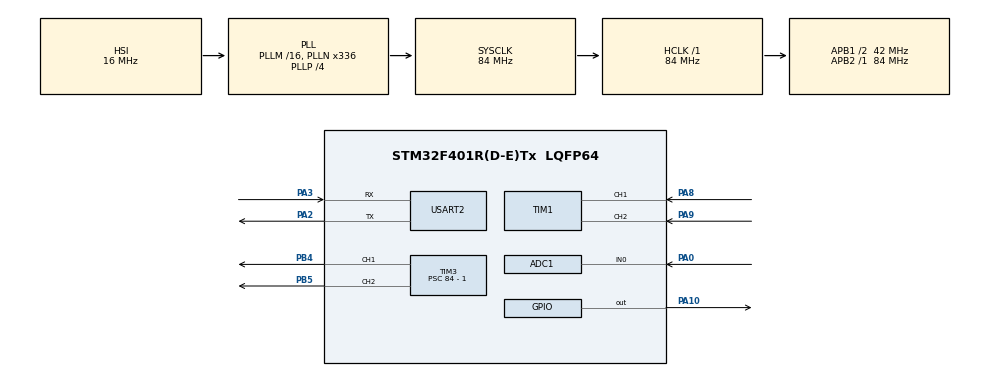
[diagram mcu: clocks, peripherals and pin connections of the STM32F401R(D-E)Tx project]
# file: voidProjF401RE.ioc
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ADC1.Channel-2\#ChannelRegularConversion=ADC_CHANNEL_0
ADC1.ExternalTrigConv=ADC_EXTERNALTRIGCONV_T2_TRGO
ADC1.InjNumberOfConversion=0
ADC1.NbrOfConversionFlag=1
ADC1.Rank-2\#ChannelRegularConversion=1
ADC1.SamplingTime-2\#ChannelRegularConversion=ADC_SAMPLETIME_3CYCLES
ADC1.master=1
Mcu.Family=STM32F4
Mcu.Name=STM32F401R(D-E)Tx
Mcu.Package=LQFP64
NVIC.ADC_IRQn=true\:0\:0\:false\:false\:true\:true\:true\:true
NVIC.PriorityGroup=NVIC_PRIORITYGROUP_4
NVIC.TIM4_IRQn=true\:0\:0\:false\:false\:true\:true\:true\:true
PA0-WKUP.Signal=SharedAnalog_PA0
PA10.Signal=GPIO_Output
PA2.Mode=Asynchronous
PA2.Signal=USART2_TX
PA3.Mode=Asynchronous
PA3.Signal=USART2_RX
PA8.Signal=S_TIM1_CH1
PA9.Signal=S_TIM1_CH2
PB4.Signal=S_TIM3_CH1
PB5.Signal=S_TIM3_CH2
ProjectManager.HeapSize=0x200
ProjectManager.StackSize=0x400
ProjectManager.TargetToolchain=STM32CubeIDE
RCC.48MHZClocksFreq_Value=84000000
RCC.AHBFreq_Value=84000000
RCC.APB1CLKDivider=RCC_HCLK_DIV2
RCC.APB1Freq_Value=42000000
RCC.APB1TimFreq_Value=84000000
RCC.APB2Freq_Value=84000000
RCC.APB2TimFreq_Value=84000000
RCC.CortexFreq_Value=84000000
RCC.HCLKFreq_Value=84000000
RCC.HSE_VALUE=25000000
RCC.HSI_VALUE=16000000
RCC.LSE_VALUE=32768
RCC.PLLN=336
RCC.PLLP=RCC_PLLP_DIV4
RCC.SYSCLKFreq_VALUE=84000000
RCC.SYSCLKSource=RCC_SYSCLKSOURCE_PLLCLK
RCC.VCOOutputFreq_Value=336000000
SH.S_TIM1_CH1.0=TIM1_CH1,Encoder_Interface
SH.S_TIM1_CH2.0=TIM1_CH2,Encoder_Interface
SH.S_TIM3_CH1.0=TIM3_CH1,PWM Generation1 CH1
SH.S_TIM3_CH2.0=TIM3_CH2,PWM Generation2 CH2
SH.SharedAnalog_PA0.0=GPIO_Analog
SH.SharedAnalog_PA0.1=ADC1_IN0,IN0
TIM1.EncoderMode=TIM_ENCODERMODE_TI12
TIM2.Channel-PWM\ Generation1\ No\ Output=TIM_CHANNEL_1
TIM2.Period=1000 - 1
TIM2.Prescaler=84 - 1
TIM2.TIM_MasterOutputTrigger=TIM_TRGO_UPDATE
TIM3.AutoReloadPreload=TIM_AUTORELOAD_PRELOAD_ENABLE
TIM3.Channel-PWM\ Generation1\ CH1=TIM_CHANNEL_1
TIM3.Channel-PWM\ Generation2\ CH2=TIM_CHANNEL_2
TIM3.Period=500 - 1
TIM3.Prescaler=84 - 1
TIM4.Period=5000 - 1
TIM4.Prescaler=84 - 1
USART2.VirtualMode=VM_ASYNC
VP_TIM2_VS_ClockSourceINT.Mode=Internal
VP_TIM2_VS_no_output1.Mode=PWM Generation1 No Output
VP_TIM3_VS_ClockSourceINT.Mode=Internal
VP_TIM4_VS_ClockSourceINT.Mode=Internal
board=custom

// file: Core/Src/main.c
/* USER CODE BEGIN Header */
/**
 ******************************************************************************
 * @file           : main.c
 * @brief          : Main program body
 ******************************************************************************
 * @attention
 *
 * <h2><center>&copy; Copyright (c) 2021 STMicroelectronics.
 * All rights reserved.</center></h2>
 *
 * This software component is licensed by ST under BSD 3-Clause license,
 * the "License"; You may not use this file except in compliance with the
 * License. You may obtain a copy of the License at:
 *                        opensource.org/licenses/BSD-3-Clause
 *
 ******************************************************************************
 */
/* USER CODE END Header */
#include "main.h"

/* USER CODE BEGIN Includes */
#include "stdio.h"
#include "stdlib.h"
#include "stdbool.h"
#include "math.h"
#include "string.h"
#include  <errno.h>
#include  <sys/unistd.h> // STDOUT_FILENO, STDERR_FILENO
/* USER CODE END Includes */

/* USER CODE BEGIN PD */
#define WAITING 2 // the number of seconds to wait from one reference change to the next. It also coincides with the number of seconds between one USART send and the next
/* USER CODE END PD */

ADC_HandleTypeDef hadc1;

TIM_HandleTypeDef htim1;
TIM_HandleTypeDef htim2;
TIM_HandleTypeDef htim3;
TIM_HandleTypeDef htim4;

UART_HandleTypeDef huart2;

void SystemClock_Config(void);
static void MX_GPIO_Init(void);
static void MX_USART2_UART_Init(void);
static void MX_TIM3_Init(void);
static void MX_TIM1_Init(void);
static void MX_TIM4_Init(void);
static void MX_ADC1_Init(void);
static void MX_TIM2_Init(void);

/* USER CODE BEGIN 0 */
/* BEGIN CIRCULAR DATA BUFFER */
typedef struct circular_buffer {
	void *buffer;     // data buffer
	void *buffer_end; // end of data buffer
	size_t capacity;  // maximum number of items in the buffer
	size_t count;     // number of items in the buffer
	size_t sz;        // size of each item in the buffer
	void *head;       // pointer to head
	void *tail;       // pointer to tail
	bool writing;  // signals if the buffer is being written
} circular_buffer;

void cb_init(circular_buffer *cb, size_t capacity, size_t sz) {
	cb->buffer = calloc(capacity, sz);
	if (cb->buffer == NULL)
		printf("ALLOCATED NULL\n\r");
	// handle error
	cb->buffer_end = (char*) cb->buffer + capacity * sz;
	cb->capacity = capacity;
	cb->count = 0;
	cb->sz = sz;
	cb->head = cb->buffer;
	cb->tail = cb->buffer;
	cb->writing = false;

}

void cb_free(circular_buffer *cb) {
	free(cb->buffer);
	// clear out other fields too, just to be safe
}

void cb_push_back(circular_buffer *cb, const void *item) {
	if (cb->count == cb->capacity) {
		printf("ERROR PUSH BACK \n\r");
		// handle error
	}
	cb->writing = true;
	memmove(cb->head, item, cb->sz);
	cb->head = (char*) cb->head + cb->sz;
	if (cb->head == cb->buffer_end)
		cb->head = cb->buffer;
	cb->count++;
	cb->writing = false;
}

void cb_pop_front(circular_buffer *cb, void *item) {
	if (cb->count == 0) {
		printf("ERROR PUSH BACK \n\r");
		// handle error
	}
	memmove(item, cb->tail, cb->sz);
	cb->tail = (char*) cb->tail + cb->sz;
	if (cb->tail == cb->buffer_end)
		cb->tail = cb->buffer;
	while ((cb->writing))
		;
	cb->count--;
}

circular_buffer myBuff;

/* BEGIN RECORD TYPEDEF*/
typedef struct record {
	double current_u; // value of the current controller output
	double current_reference; // value of the current reference
	double current_torque; // value of the current motor torque
	uint32_t cycleCoreDuration; // time needed to read, compute and actuate
	uint32_t cycleBeginDelay; // difference between the actual and the expected absolute start time of the cycle
	uint32_t currentTimestamp; // current timestamp in millis
} record;

/* BEGIN USART WRITE FUNCTION (used by printf)*/
int _write(int file, char *data, int len) {
	if ((file != STDOUT_FILENO) && (file != STDERR_FILENO)) {
		errno = EBADF;
		return -1;
	}

	// arbitrary timeout 1000
	HAL_StatusTypeDef status = HAL_UART_Transmit(&huart2, (uint8_t*) data, len,
			1000);

	// return # of bytes written - as best we can tell
	return (status == HAL_OK ? len : 0);
}

void setPulseFromDutyValue(double dutyVal) {
	HAL_GPIO_WritePin(GPIOA, GPIO_PIN_10, GPIO_PIN_SET); // enable the motor driver

	uint16_t channelToModulate;
	uint16_t channelToStop;

	if (dutyVal > 0) {
		channelToModulate = TIM_CHANNEL_1;
		channelToStop = TIM_CHANNEL_2;
	} else {
		channelToModulate = TIM_CHANNEL_2;
		channelToStop = TIM_CHANNEL_1;
	}

	__HAL_TIM_SET_COMPARE(&htim3, channelToStop, 0);
	__HAL_TIM_SET_COMPARE(&htim3, channelToModulate,
			(abs(dutyVal) * ((double )htim3.Init.Period)) / 100); //cast integer value to double to correctly perform division between decimal numbers
}

double getSpeedByDelta(double ticksDelta, double Ts) {
	return ticksDelta * (2*M_PI) / (8400 * Ts);
}

double getTicksDelta(double currentTicks, double lastTicks, double Ts) {
	double delta;

	if (abs(currentTicks - lastTicks) <= ceil(12600 * Ts))
		delta = currentTicks - lastTicks;
	else {
		if (lastTicks > currentTicks)
			delta = currentTicks + pow(2, 16) - 1 - lastTicks;
		else
			delta = currentTicks - pow(2, 16) + 1 - lastTicks;
	}
	return delta;
}

double getPosition(double ticksDelta, double *ticksStar) {
	(*ticksStar) = (*ticksStar) + ticksDelta;
	double completeTheta = 2*M_PI*(*ticksStar)/(8400);
	// int sign = 0;
	// if(completeTheta>0)
	// 	sign = 1;
	// else if(completeTheta<0)
	// 	sign = -1;
	// double position = sign*fmod(fabs(completeTheta),2*M_PI);
	double position = completeTheta;
	return position;
}

int cycleduration;
double lastTicks = 0;
double currentTicks = 0;
uint32_t ticControlStep;
uint32_t tocControlStep;
uint32_t controlComputationDuration;
double u_last = 0;
double speed_last = 0;
double e_last = 0;
double ticks_last = 0;
double Kp = 0.046;
double Ti = 0.001352941176471;
double Ts = 0.005;
double K = 1.339;
double V0 = 2.467;
double delta_V = 0.185;
double alpha = 0.95123;
double referenceVals[4] = { 0,0.214,0,-0.214 };//M_PI/2, M_PI, 3*M_PI/2, 2*M_PI };
double referenceVal;
double current = 0.0;
uint32_t k_controller = -1;
int samplingPrescaler = 2;
int samplingPrescalerCounter = 0;
/* USER CODE END 0 */

int main(void)
{

  /* MCU Configuration--------------------------------------------------------*/

  /* Reset of all peripherals, Initializes the Flash interface and the Systick. */
  HAL_Init();

  /* USER CODE BEGIN Init */
	size_t bufferSize = (size_t)ceil(2 * WAITING / (Ts * samplingPrescaler));
	cb_init(&myBuff, bufferSize, sizeof(record));

  /* USER CODE END Init */

  /* Configure the system clock */
  SystemClock_Config();

  /* Initialize all configured peripherals */
  MX_GPIO_Init();
  MX_USART2_UART_Init();
  MX_TIM3_Init();
  MX_TIM1_Init();
  MX_TIM4_Init();
  MX_ADC1_Init();
  MX_TIM2_Init();
  /* USER CODE BEGIN 2 */
//    if(HAL_ADCEx_Calibration_Start(&hadc1, ADC_CALIB_OFFSET, ADC_SINGLE_ENDED) != HAL_OK)
//    	Error_Handler();
    if(HAL_ADC_Start_IT(&hadc1) != HAL_OK)
		Error_Handler();
    if(HAL_TIM_PWM_Start(&htim2, TIM_CHANNEL_1) != HAL_OK)
		Error_Handler();
    HAL_TIM_PWM_Start(&htim3, TIM_CHANNEL_1);
    HAL_TIM_PWM_Start(&htim3, TIM_CHANNEL_2);
    HAL_TIM_Base_Start(&htim1);
    HAL_TIM_Base_Start_IT(&htim4);
  /* USER CODE END 2 */

  /* Infinite loop */
  /* USER CODE BEGIN WHILE */
	int referenceIndex = 0;

	// Convert torque reference to current reference
	for(int i = 0; i<4; i++){
		referenceVals[i] /= K;
	}

	referenceVal = referenceVals[referenceIndex];
	printf("INIT\n\r"); // initialize the Matlab tool for COM data acquiring

	while (1) {
		size_t nEntriesToSend = myBuff.count; //number of samples not read yet
		record retrieved; //buffer entry

		for (size_t count = 0; count < nEntriesToSend; count++) {
			cb_pop_front(&myBuff, &retrieved); //take entry from the buffer
			printf("%lu, %f, %f, %f, %lu\n\r", retrieved.currentTimestamp,
					retrieved.current_u, retrieved.current_torque, retrieved.current_reference,
					retrieved.cycleCoreDuration); // send values via USART using format: value1, value2, value3, ... valuen \n \r
		}
		referenceVal = referenceVals[referenceIndex];
		referenceIndex = referenceIndex + 1;
		HAL_Delay(WAITING*1000); // takes a time value in ms
		if (referenceIndex > 3)
			referenceIndex = 0;

    /* USER CODE END WHILE */

	}
}

void SystemClock_Config(void)
{
  RCC_OscInitTypeDef RCC_OscInitStruct = {0};
  RCC_ClkInitTypeDef RCC_ClkInitStruct = {0};

  /** Configure the main internal regulator output voltage
  */
  __HAL_RCC_PWR_CLK_ENABLE();
  __HAL_PWR_VOLTAGESCALING_CONFIG(PWR_REGULATOR_VOLTAGE_SCALE2);
  /** Initializes the RCC Oscillators according to the specified parameters
  * in the RCC_OscInitTypeDef structure.
  */
  RCC_OscInitStruct.OscillatorType = RCC_OSCILLATORTYPE_HSI;
  RCC_OscInitStruct.HSIState = RCC_HSI_ON;
  RCC_OscInitStruct.HSICalibrationValue = RCC_HSICALIBRATION_DEFAULT;
  RCC_OscInitStruct.PLL.PLLState = RCC_PLL_ON;
  RCC_OscInitStruct.PLL.PLLSource = RCC_PLLSOURCE_HSI;
  RCC_OscInitStruct.PLL.PLLM = 16;
  RCC_OscInitStruct.PLL.PLLN = 336;
  RCC_OscInitStruct.PLL.PLLP = RCC_PLLP_DIV4;
  RCC_OscInitStruct.PLL.PLLQ = 4;
  if (HAL_RCC_OscConfig(&RCC_OscInitStruct) != HAL_OK)
  {
    Error_Handler();
  }
  /** Initializes the CPU, AHB and APB buses clocks
  */
  RCC_ClkInitStruct.ClockType = RCC_CLOCKTYPE_HCLK|RCC_CLOCKTYPE_SYSCLK
                              |RCC_CLOCKTYPE_PCLK1|RCC_CLOCKTYPE_PCLK2;
  RCC_ClkInitStruct.SYSCLKSource = RCC_SYSCLKSOURCE_PLLCLK;
  RCC_ClkInitStruct.AHBCLKDivider = RCC_SYSCLK_DIV1;
  RCC_ClkInitStruct.APB1CLKDivider = RCC_HCLK_DIV2;
  RCC_ClkInitStruct.APB2CLKDivider = RCC_HCLK_DIV1;

  if (HAL_RCC_ClockConfig(&RCC_ClkInitStruct, FLASH_LATENCY_2) != HAL_OK)
  {
    Error_Handler();
  }
}

static void MX_ADC1_Init(void)
{

  ADC_ChannelConfTypeDef sConfig = {0};

  /** Configure the global features of the ADC (Clock, Resolution, Data Alignment and number of conversion)
  */
  hadc1.Instance = ADC1;
  hadc1.Init.ClockPrescaler = ADC_CLOCK_SYNC_PCLK_DIV4;
  hadc1.Init.Resolution = ADC_RESOLUTION_12B;
  hadc1.Init.ScanConvMode = DISABLE;
  hadc1.Init.ContinuousConvMode = DISABLE;
  hadc1.Init.DiscontinuousConvMode = DISABLE;
  hadc1.Init.ExternalTrigConvEdge = ADC_EXTERNALTRIGCONVEDGE_RISING;
  hadc1.Init.ExternalTrigConv = ADC_EXTERNALTRIGCONV_T2_TRGO;
  hadc1.Init.DataAlign = ADC_DATAALIGN_RIGHT;
  hadc1.Init.NbrOfConversion = 1;
  hadc1.Init.DMAContinuousRequests = DISABLE;
  hadc1.Init.EOCSelection = ADC_EOC_SINGLE_CONV;
  if (HAL_ADC_Init(&hadc1) != HAL_OK)
  {
    Error_Handler();
  }
  /** Configure for the selected ADC regular channel its corresponding rank in the sequencer and its sample time.
  */
  sConfig.Channel = ADC_CHANNEL_0;
  sConfig.Rank = 1;
  sConfig.SamplingTime = ADC_SAMPLETIME_3CYCLES;
  if (HAL_ADC_ConfigChannel(&hadc1, &sConfig) != HAL_OK)
  {
    Error_Handler();
  }

}

static void MX_TIM1_Init(void)
{

  TIM_Encoder_InitTypeDef sConfig = {0};
  TIM_MasterConfigTypeDef sMasterConfig = {0};

  htim1.Instance = TIM1;
  htim1.Init.Prescaler = 0;
  htim1.Init.CounterMode = TIM_COUNTERMODE_UP;
  htim1.Init.Period = 65535;
  htim1.Init.ClockDivision = TIM_CLOCKDIVISION_DIV1;
  htim1.Init.RepetitionCounter = 0;
  htim1.Init.AutoReloadPreload = TIM_AUTORELOAD_PRELOAD_DISABLE;
  sConfig.EncoderMode = TIM_ENCODERMODE_TI12;
  sConfig.IC1Polarity = TIM_ICPOLARITY_RISING;
  sConfig.IC1Selection = TIM_ICSELECTION_DIRECTTI;
  sConfig.IC1Prescaler = TIM_ICPSC_DIV1;
  sConfig.IC1Filter = 0;
  sConfig.IC2Polarity = TIM_ICPOLARITY_RISING;
  sConfig.IC2Selection = TIM_ICSELECTION_DIRECTTI;
  sConfig.IC2Prescaler = TIM_ICPSC_DIV1;
  sConfig.IC2Filter = 0;
  if (HAL_TIM_Encoder_Init(&htim1, &sConfig) != HAL_OK)
  {
    Error_Handler();
  }
  sMasterConfig.MasterOutputTrigger = TIM_TRGO_RESET;
  sMasterConfig.MasterSlaveMode = TIM_MASTERSLAVEMODE_DISABLE;
  if (HAL_TIMEx_MasterConfigSynchronization(&htim1, &sMasterConfig) != HAL_OK)
  {
    Error_Handler();
  }

}

static void MX_TIM2_Init(void)
{

  TIM_ClockConfigTypeDef sClockSourceConfig = {0};
  TIM_MasterConfigTypeDef sMasterConfig = {0};
  TIM_OC_InitTypeDef sConfigOC = {0};

  htim2.Instance = TIM2;
  htim2.Init.Prescaler = 84 - 1;
  htim2.Init.CounterMode = TIM_COUNTERMODE_UP;
  htim2.Init.Period = 1000 - 1;
  htim2.Init.ClockDivision = TIM_CLOCKDIVISION_DIV1;
  htim2.Init.AutoReloadPreload = TIM_AUTORELOAD_PRELOAD_DISABLE;
  if (HAL_TIM_Base_Init(&htim2) != HAL_OK)
  {
    Error_Handler();
  }
  sClockSourceConfig.ClockSource = TIM_CLOCKSOURCE_INTERNAL;
  if (HAL_TIM_ConfigClockSource(&htim2, &sClockSourceConfig) != HAL_OK)
  {
    Error_Handler();
  }
  if (HAL_TIM_PWM_Init(&htim2) != HAL_OK)
  {
    Error_Handler();
  }
  sMasterConfig.MasterOutputTrigger = TIM_TRGO_UPDATE;
  sMasterConfig.MasterSlaveMode = TIM_MASTERSLAVEMODE_DISABLE;
  if (HAL_TIMEx_MasterConfigSynchronization(&htim2, &sMasterConfig) != HAL_OK)
  {
    Error_Handler();
  }
  sConfigOC.OCMode = TIM_OCMODE_PWM1;
  sConfigOC.Pulse = 0;
  sConfigOC.OCPolarity = TIM_OCPOLARITY_HIGH;
  sConfigOC.OCFastMode = TIM_OCFAST_DISABLE;
  if (HAL_TIM_PWM_ConfigChannel(&htim2, &sConfigOC, TIM_CHANNEL_1) != HAL_OK)
  {
    Error_Handler();
  }

}

static void MX_TIM3_Init(void)
{

  TIM_ClockConfigTypeDef sClockSourceConfig = {0};
  TIM_MasterConfigTypeDef sMasterConfig = {0};
  TIM_OC_InitTypeDef sConfigOC = {0};

  htim3.Instance = TIM3;
  htim3.Init.Prescaler = 84 - 1;
  htim3.Init.CounterMode = TIM_COUNTERMODE_UP;
  htim3.Init.Period = 500 - 1;
  htim3.Init.ClockDivision = TIM_CLOCKDIVISION_DIV1;
  htim3.Init.AutoReloadPreload = TIM_AUTORELOAD_PRELOAD_ENABLE;
  if (HAL_TIM_Base_Init(&htim3) != HAL_OK)
  {
    Error_Handler();
  }
  sClockSourceConfig.ClockSource = TIM_CLOCKSOURCE_INTERNAL;
  if (HAL_TIM_ConfigClockSource(&htim3, &sClockSourceConfig) != HAL_OK)
  {
    Error_Handler();
  }
  if (HAL_TIM_PWM_Init(&htim3) != HAL_OK)
  {
    Error_Handler();
  }
  sMasterConfig.MasterOutputTrigger = TIM_TRGO_RESET;
  sMasterConfig.MasterSlaveMode = TIM_MASTERSLAVEMODE_DISABLE;
  if (HAL_TIMEx_MasterConfigSynchronization(&htim3, &sMasterConfig) != HAL_OK)
  {
    Error_Handler();
  }
  sConfigOC.OCMode = TIM_OCMODE_PWM1;
  sConfigOC.Pulse = 0;
  sConfigOC.OCPolarity = TIM_OCPOLARITY_HIGH;
  sConfigOC.OCFastMode = TIM_OCFAST_DISABLE;
  if (HAL_TIM_PWM_ConfigChannel(&htim3, &sConfigOC, TIM_CHANNEL_1) != HAL_OK)
  {
    Error_Handler();
  }
  if (HAL_TIM_PWM_ConfigChannel(&htim3, &sConfigOC, TIM_CHANNEL_2) != HAL_OK)
  {
    Error_Handler();
  }
  HAL_TIM_MspPostInit(&htim3);

}

static void MX_TIM4_Init(void)
{

  TIM_ClockConfigTypeDef sClockSourceConfig = {0};
  TIM_MasterConfigTypeDef sMasterConfig = {0};

  htim4.Instance = TIM4;
  htim4.Init.Prescaler = 84 - 1;
  htim4.Init.CounterMode = TIM_COUNTERMODE_UP;
  htim4.Init.Period = 5000 - 1;
  htim4.Init.ClockDivision = TIM_CLOCKDIVISION_DIV1;
  htim4.Init.AutoReloadPreload = TIM_AUTORELOAD_PRELOAD_DISABLE;
  if (HAL_TIM_Base_Init(&htim4) != HAL_OK)
  {
    Error_Handler();
  }
  sClockSourceConfig.ClockSource = TIM_CLOCKSOURCE_INTERNAL;
  if (HAL_TIM_ConfigClockSource(&htim4, &sClockSourceConfig) != HAL_OK)
  {
    Error_Handler();
  }
  sMasterConfig.MasterOutputTrigger = TIM_TRGO_RESET;
  sMasterConfig.MasterSlaveMode = TIM_MASTERSLAVEMODE_DISABLE;
  if (HAL_TIMEx_MasterConfigSynchronization(&htim4, &sMasterConfig) != HAL_OK)
  {
    Error_Handler();
  }

}

static void MX_USART2_UART_Init(void)
{

  huart2.Instance = USART2;
  huart2.Init.BaudRate = 115200;
  huart2.Init.WordLength = UART_WORDLENGTH_8B;
  huart2.Init.StopBits = UART_STOPBITS_1;
  huart2.Init.Parity = UART_PARITY_NONE;
  huart2.Init.Mode = UART_MODE_TX_RX;
  huart2.Init.HwFlowCtl = UART_HWCONTROL_NONE;
  huart2.Init.OverSampling = UART_OVERSAMPLING_16;
  if (HAL_UART_Init(&huart2) != HAL_OK)
  {
    Error_Handler();
  }

}

static void MX_GPIO_Init(void)
{
  GPIO_InitTypeDef GPIO_InitStruct = {0};

  /* GPIO Ports Clock Enable */
  __HAL_RCC_GPIOA_CLK_ENABLE();
  __HAL_RCC_GPIOB_CLK_ENABLE();

  /*Configure GPIO pin Output Level */
  HAL_GPIO_WritePin(GPIOA, GPIO_PIN_10, GPIO_PIN_RESET);

  /*Configure GPIO pin : PA10 */
  GPIO_InitStruct.Pin = GPIO_PIN_10;
  GPIO_InitStruct.Mode = GPIO_MODE_OUTPUT_PP;
  GPIO_InitStruct.Pull = GPIO_NOPULL;
  GPIO_InitStruct.Speed = GPIO_SPEED_FREQ_LOW;
  HAL_GPIO_Init(GPIOA, &GPIO_InitStruct);

}

/* USER CODE BEGIN 4 */
void HAL_ADC_ConvCpltCallback(ADC_HandleTypeDef *hadc) {
	uint32_t current_raw = HAL_ADC_GetValue(&hadc1);
	double current_new = (((current_raw/4095.0)*3.3)-V0)/delta_V;
	current = alpha*current + (1-alpha)*current_new;
}

void HAL_TIM_PeriodElapsedCallback(TIM_HandleTypeDef *htim) {
	if (htim == &htim4) {
		k_controller = k_controller + 1;
		if (k_controller == 0) {
			ticControlStep = HAL_GetTick();
		}
		tocControlStep = HAL_GetTick();

		currentTicks = (double) __HAL_TIM_GET_COUNTER(&htim1); //take current value of ticks counting the encoder edges
		double deltaTicks = getTicksDelta(currentTicks, lastTicks, Ts);
		double speed = getSpeedByDelta(deltaTicks, Ts);
		double e = referenceVal-current;
		double delta_u = Kp*(e*(1+Ts/(2*Ti))+e_last*(Ts/(2*Ti)-1)) + (speed-speed_last)*K;
		double u = u_last + delta_u;
		if(u > 12.0)
			u = 12.0;
		else if(u < -12.0)
			u = -12.0;
		setPulseFromDutyValue(u * 100 / 12);

		u_last = u;
		speed_last = speed;
		e_last = e;
		controlComputationDuration = HAL_GetTick() - tocControlStep;
		lastTicks = currentTicks;
		// recording data in the buffer
		record r;
		r.current_u = u;
		r.current_reference = referenceVal*K;
		r.current_torque = current*K;
		r.cycleCoreDuration = controlComputationDuration;
		r.cycleBeginDelay = tocControlStep - ticControlStep
				- (k_controller * Ts * 1000);
		r.currentTimestamp = HAL_GetTick();
		if (samplingPrescalerCounter == (samplingPrescaler - 1)) {
			cb_push_back(&myBuff, &r);
			samplingPrescalerCounter = -1;
		}
		samplingPrescalerCounter++;
	}
}
/* USER CODE END 4 */

void Error_Handler(void)
{
	__disable_irq();
	while (1) {
	}
}

/************************ (C) COPYRIGHT STMicroelectronics *****END OF FILE****/
